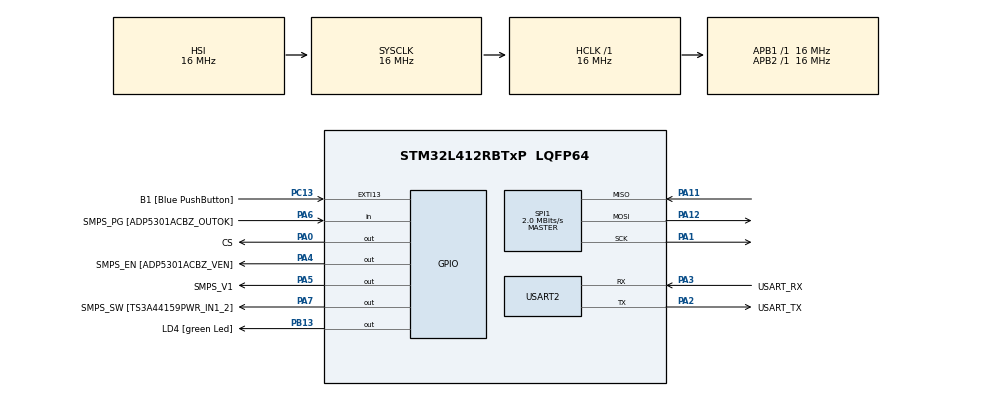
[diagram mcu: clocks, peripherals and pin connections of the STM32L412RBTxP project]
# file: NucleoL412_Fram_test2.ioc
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Mcu.Family=STM32L4
Mcu.Name=STM32L412RBTxP
Mcu.Package=LQFP64
NVIC.PriorityGroup=NVIC_PRIORITYGROUP_4
PA0.GPIO_Label=CS
PA0.GPIO_PuPd=GPIO_PULLUP
PA0.GPIO_Speed=GPIO_SPEED_FREQ_HIGH
PA0.PinState=GPIO_PIN_SET
PA0.Signal=GPIO_Output
PA1.GPIO_PuPd=GPIO_PULLDOWN
PA1.Mode=Full_Duplex_Master
PA1.Signal=SPI1_SCK
PA11.GPIO_PuPd=GPIO_PULLDOWN
PA11.Mode=Full_Duplex_Master
PA11.Signal=SPI1_MISO
PA12.GPIO_PuPd=GPIO_PULLDOWN
PA12.Mode=Full_Duplex_Master
PA12.Signal=SPI1_MOSI
PA13\ (JTMS/SWDIO).GPIO_Label=TMS
PA13\ (JTMS/SWDIO).Mode=Serial_Wire
PA13\ (JTMS/SWDIO).Signal=SYS_JTMS-SWDIO
PA14\ (JTCK/SWCLK).GPIO_Label=TCK
PA14\ (JTCK/SWCLK).Mode=Serial_Wire
PA14\ (JTCK/SWCLK).Signal=SYS_JTCK-SWCLK
PA2.GPIO_Label=USART_TX
PA2.GPIO_PuPd=GPIO_NOPULL
PA2.GPIO_Speed=GPIO_SPEED_FREQ_VERY_HIGH
PA2.Mode=Asynchronous
PA2.Signal=USART2_TX
PA3.GPIO_Label=USART_RX
PA3.GPIO_PuPd=GPIO_NOPULL
PA3.GPIO_Speed=GPIO_SPEED_FREQ_VERY_HIGH
PA3.Mode=Asynchronous
PA3.Signal=USART2_RX
PA4.GPIO_Label=SMPS_EN [ADP5301ACBZ_VEN]
PA4.Signal=GPIO_Output
PA5.GPIO_Label=SMPS_V1
PA5.GPIO_ModeDefaultOutputPP=GPIO_MODE_OUTPUT_PP
PA5.GPIO_PuPd=GPIO_NOPULL
PA5.GPIO_Speed=GPIO_SPEED_FREQ_LOW
PA5.Signal=GPIO_Output
PA6.GPIO_Label=SMPS_PG [ADP5301ACBZ_OUTOK]
PA6.GPIO_PuPd=GPIO_PULLUP
PA6.Signal=GPIO_Input
PA7.GPIO_Label=SMPS_SW [TS3A44159PWR_IN1_2]
PA7.Signal=GPIO_Output
PB13.GPIO_Label=LD4 [green Led]
PB13.Signal=GPIO_Output
PB3\ (JTDO/TRACESWO).GPIO_Label=SWO
PB3\ (JTDO/TRACESWO).Signal=SYS_JTDO-SWO
PC13.GPIO_Label=B1 [Blue PushButton]
PC13.GPIO_ModeDefaultEXTI=GPIO_MODE_IT_FALLING
PC13.GPIO_PuPd=GPIO_NOPULL
PC13.Signal=GPXTI13
PC14-OSC32_IN\ (PC14).Signal=RCC_OSC32_IN
PC15-OSC32_OUT\ (PC15).Signal=RCC_OSC32_OUT
PH0-OSC_IN\ (PH0).GPIO_Label=MCO
PH0-OSC_IN\ (PH0).Signal=RCC_OSC_IN
PH1-OSC_OUT\ (PH1).Signal=RCC_OSC_OUT
ProjectManager.HeapSize=0x200
ProjectManager.StackSize=0x400
ProjectManager.TargetToolchain=Makefile
RCC.ADCFreq_Value=16000000
RCC.AHBFreq_Value=16000000
RCC.APB1Freq_Value=16000000
RCC.APB1TimFreq_Value=16000000
RCC.APB2Freq_Value=16000000
RCC.APB2TimFreq_Value=16000000
RCC.CortexFreq_Value=16000000
RCC.FLatency=FLASH_LATENCY_0
RCC.HCLKFreq_Value=16000000
RCC.HSE_VALUE=8000000
RCC.HSI48_VALUE=48000000
RCC.HSICalibrationValue=70
RCC.HSI_VALUE=16000000
RCC.LSE_VALUE=32768
RCC.MSIAutoCalibration=DISABLED
RCC.MSI_VALUE=4000000
RCC.PLLN=40
RCC.PLLSourceVirtual=RCC_PLLSOURCE_HSI
RCC.PREFETCH_ENABLE=1
RCC.SYSCLKFreq_VALUE=16000000
RCC.SYSCLKSource=RCC_SYSCLKSOURCE_HSI
RCC.USBFreq_Value=4000000
RCC.VCOOutputFreq_Value=640000000
SPI1.BaudRatePrescaler=SPI_BAUDRATEPRESCALER_8
SPI1.CalculateBaudRate=2.0 MBits/s
SPI1.DataSize=SPI_DATASIZE_8BIT
SPI1.Direction=SPI_DIRECTION_2LINES
SPI1.Mode=SPI_MODE_MASTER
SPI1.VirtualType=VM_MASTER
USART2.VirtualMode-Asynchronous=VM_ASYNC
board=NUCLEO-L412RB-P

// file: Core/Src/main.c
/* USER CODE BEGIN Header */
/**
  ******************************************************************************
  * @file           : main.c
  * @brief          : Main program body
  ******************************************************************************
  * @attention
  *
  * Copyright (c) 2022 STMicroelectronics.
  * All rights reserved.
  *
  * This software is licensed under terms that can be found in the LICENSE file
  * in the root directory of this software component.
  * If no LICENSE file comes with this software, it is provided AS-IS.
  *
  ******************************************************************************
  */
/* USER CODE END Header */
#include "main.h"

/* USER CODE BEGIN Includes */
#include <stdio.h>
#include <string.h>
#include <stdarg.h>
#include "SPI_FRAM.h"
/* USER CODE END Includes */

SPI_HandleTypeDef hspi1;

UART_HandleTypeDef huart2;

void SystemClock_Config(void);
static void MX_GPIO_Init(void);
static void MX_SPI1_Init(void);
static void MX_USART2_UART_Init(void);
/* USER CODE BEGIN PFP */
void myprintf(const char *fmt, ...);
/* USER CODE END PFP */

/* USER CODE BEGIN 0 */
void myprintf(const char *fmt, ...) {
  static char buffer[256];
  va_list args;
  va_start(args, fmt);
  vsnprintf(buffer, sizeof(buffer), fmt, args);
  va_end(args);

  int len = strlen(buffer);
  HAL_UART_Transmit(&huart2, (uint8_t*)buffer, len, -1);
}
/* USER CODE END 0 */

int main(void)
{

  /* MCU Configuration--------------------------------------------------------*/

  /* Reset of all peripherals, Initializes the Flash interface and the Systick. */
  HAL_Init();

  /* Configure the system clock */
  SystemClock_Config();

  /* Initialize all configured peripherals */
  MX_GPIO_Init();
  MX_SPI1_Init();
  MX_USART2_UART_Init();
  /* USER CODE BEGIN 2 */
  uint8_t addr_size = 3;
  #pragma region FRAM Init //Init SPI FRAM and get deice ID + size
  /*Make sure SPI state is ready*/
  if(!begin(addr_size))
  {
    myprintf("SPI FRAM begin error.. check your connection !!\n");
    while(1);
  }
  else myprintf("SPI begin success!!\n");

  /* Make sure we're actually connected */
  uint8_t manufID;
  uint16_t prodID;
  FRAM_getID(&manufID, &prodID);
  /* Everything seems to be properly initialised and connected */
  //uint32_t flash_size = check_supported_device(&manufID, &prodID);
  //myprintf("Flash Size = 0x%X\n", flash_size);
  myprintf("Manufacture ID: 0x%X\n", manufID);
  myprintf("product ID: 0x%X\n", prodID);
  #pragma endregion
  #pragma region FRAM Test write 1 byte
  /*Read the first byte*/
  uint8_t test = FRAM_read8(0x00);
  myprintf("Data at address 0x00: %d\n", test);

  /*Test write at address 0x00*/
  FRAM_writeEnable(true);
  FRAM_write8(0x0, test+1);
  FRAM_writeEnable(false);
  #pragma endregion
  #pragma region Test sleep current in 10 second
  myprintf("Enter sleep mode in 2 second!");
  HAL_Delay(2000);
  FRAM_sleepEnable(true);
  HAL_Delay(10000);
  FRAM_sleepEnable(false);
  #pragma endregion
  /* USER CODE END 2 */

  /* Infinite loop */
  /* USER CODE BEGIN WHILE */
  while (1)
  {
    HAL_GPIO_TogglePin(LD4_GPIO_Port, LD4_Pin);
  	HAL_Delay(1000);
    /* USER CODE END WHILE */

  }
}

void SystemClock_Config(void)
{
  RCC_OscInitTypeDef RCC_OscInitStruct = {0};
  RCC_ClkInitTypeDef RCC_ClkInitStruct = {0};

  /** Configure the main internal regulator output voltage
  */
  if (HAL_PWREx_ControlVoltageScaling(PWR_REGULATOR_VOLTAGE_SCALE1) != HAL_OK)
  {
    Error_Handler();
  }

  /** Initializes the RCC Oscillators according to the specified parameters
  * in the RCC_OscInitTypeDef structure.
  */
  RCC_OscInitStruct.OscillatorType = RCC_OSCILLATORTYPE_HSI;
  RCC_OscInitStruct.HSIState = RCC_HSI_ON;
  RCC_OscInitStruct.HSICalibrationValue = 70;
  RCC_OscInitStruct.PLL.PLLState = RCC_PLL_NONE;
  if (HAL_RCC_OscConfig(&RCC_OscInitStruct) != HAL_OK)
  {
    Error_Handler();
  }

  /** Initializes the CPU, AHB and APB buses clocks
  */
  RCC_ClkInitStruct.ClockType = RCC_CLOCKTYPE_HCLK|RCC_CLOCKTYPE_SYSCLK
                              |RCC_CLOCKTYPE_PCLK1|RCC_CLOCKTYPE_PCLK2;
  RCC_ClkInitStruct.SYSCLKSource = RCC_SYSCLKSOURCE_HSI;
  RCC_ClkInitStruct.AHBCLKDivider = RCC_SYSCLK_DIV1;
  RCC_ClkInitStruct.APB1CLKDivider = RCC_HCLK_DIV1;
  RCC_ClkInitStruct.APB2CLKDivider = RCC_HCLK_DIV1;

  if (HAL_RCC_ClockConfig(&RCC_ClkInitStruct, FLASH_LATENCY_0) != HAL_OK)
  {
    Error_Handler();
  }
}

static void MX_SPI1_Init(void)
{

  /* SPI1 parameter configuration*/
  hspi1.Instance = SPI1;
  hspi1.Init.Mode = SPI_MODE_MASTER;
  hspi1.Init.Direction = SPI_DIRECTION_2LINES;
  hspi1.Init.DataSize = SPI_DATASIZE_8BIT;
  hspi1.Init.CLKPolarity = SPI_POLARITY_LOW;
  hspi1.Init.CLKPhase = SPI_PHASE_1EDGE;
  hspi1.Init.NSS = SPI_NSS_SOFT;
  hspi1.Init.BaudRatePrescaler = SPI_BAUDRATEPRESCALER_8;
  hspi1.Init.FirstBit = SPI_FIRSTBIT_MSB;
  hspi1.Init.TIMode = SPI_TIMODE_DISABLE;
  hspi1.Init.CRCCalculation = SPI_CRCCALCULATION_DISABLE;
  hspi1.Init.CRCPolynomial = 7;
  hspi1.Init.CRCLength = SPI_CRC_LENGTH_DATASIZE;
  hspi1.Init.NSSPMode = SPI_NSS_PULSE_ENABLE;
  if (HAL_SPI_Init(&hspi1) != HAL_OK)
  {
    Error_Handler();
  }

}

static void MX_USART2_UART_Init(void)
{

  huart2.Instance = USART2;
  huart2.Init.BaudRate = 115200;
  huart2.Init.WordLength = UART_WORDLENGTH_8B;
  huart2.Init.StopBits = UART_STOPBITS_1;
  huart2.Init.Parity = UART_PARITY_NONE;
  huart2.Init.Mode = UART_MODE_TX_RX;
  huart2.Init.HwFlowCtl = UART_HWCONTROL_NONE;
  huart2.Init.OverSampling = UART_OVERSAMPLING_16;
  huart2.Init.OneBitSampling = UART_ONE_BIT_SAMPLE_DISABLE;
  huart2.AdvancedInit.AdvFeatureInit = UART_ADVFEATURE_NO_INIT;
  if (HAL_UART_Init(&huart2) != HAL_OK)
  {
    Error_Handler();
  }

}

static void MX_GPIO_Init(void)
{
  GPIO_InitTypeDef GPIO_InitStruct = {0};

  /* GPIO Ports Clock Enable */
  __HAL_RCC_GPIOC_CLK_ENABLE();
  __HAL_RCC_GPIOH_CLK_ENABLE();
  __HAL_RCC_GPIOA_CLK_ENABLE();
  __HAL_RCC_GPIOB_CLK_ENABLE();

  /*Configure GPIO pin Output Level */
  HAL_GPIO_WritePin(CS_GPIO_Port, CS_Pin, GPIO_PIN_SET);

  /*Configure GPIO pin Output Level */
  HAL_GPIO_WritePin(GPIOA, SMPS_EN_Pin|SMPS_V1_Pin|SMPS_SW_Pin, GPIO_PIN_RESET);

  /*Configure GPIO pin Output Level */
  HAL_GPIO_WritePin(LD4_GPIO_Port, LD4_Pin, GPIO_PIN_RESET);

  /*Configure GPIO pin : B1_Pin */
  GPIO_InitStruct.Pin = B1_Pin;
  GPIO_InitStruct.Mode = GPIO_MODE_IT_FALLING;
  GPIO_InitStruct.Pull = GPIO_NOPULL;
  HAL_GPIO_Init(B1_GPIO_Port, &GPIO_InitStruct);

  /*Configure GPIO pin : CS_Pin */
  GPIO_InitStruct.Pin = CS_Pin;
  GPIO_InitStruct.Mode = GPIO_MODE_OUTPUT_PP;
  GPIO_InitStruct.Pull = GPIO_PULLUP;
  GPIO_InitStruct.Speed = GPIO_SPEED_FREQ_HIGH;
  HAL_GPIO_Init(CS_GPIO_Port, &GPIO_InitStruct);

  /*Configure GPIO pins : SMPS_EN_Pin SMPS_V1_Pin SMPS_SW_Pin */
  GPIO_InitStruct.Pin = SMPS_EN_Pin|SMPS_V1_Pin|SMPS_SW_Pin;
  GPIO_InitStruct.Mode = GPIO_MODE_OUTPUT_PP;
  GPIO_InitStruct.Pull = GPIO_NOPULL;
  GPIO_InitStruct.Speed = GPIO_SPEED_FREQ_LOW;
  HAL_GPIO_Init(GPIOA, &GPIO_InitStruct);

  /*Configure GPIO pin : SMPS_PG_Pin */
  GPIO_InitStruct.Pin = SMPS_PG_Pin;
  GPIO_InitStruct.Mode = GPIO_MODE_INPUT;
  GPIO_InitStruct.Pull = GPIO_PULLUP;
  HAL_GPIO_Init(SMPS_PG_GPIO_Port, &GPIO_InitStruct);

  /*Configure GPIO pin : LD4_Pin */
  GPIO_InitStruct.Pin = LD4_Pin;
  GPIO_InitStruct.Mode = GPIO_MODE_OUTPUT_PP;
  GPIO_InitStruct.Pull = GPIO_NOPULL;
  GPIO_InitStruct.Speed = GPIO_SPEED_FREQ_LOW;
  HAL_GPIO_Init(LD4_GPIO_Port, &GPIO_InitStruct);

}

void Error_Handler(void)
{
  __disable_irq();
  while (1)
  {
  }
}
